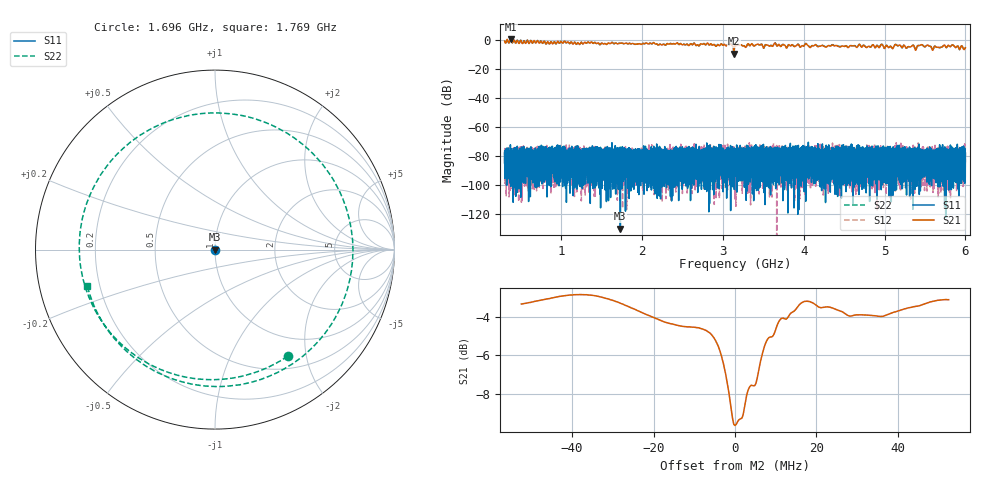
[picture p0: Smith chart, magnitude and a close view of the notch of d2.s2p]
!Agilent Technologies,N5230C,SG49000117,A.08.50.07
!Agilent N5230C: A.08.50.07
!Date: Monday, March 18, 2024 18:53:27
!Correction: S11(Off)
!S21(Off)
!S12(Off)
!S22(Off)
!S2P File: Measurements: S11, S21, S12, S22:
# Hz S  RI  R 50
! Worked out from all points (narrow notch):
!   20001 points, 300 MHz to 6 GHz, reference 50 ohm
!   highest |S21| = 0.45 dB at 374.1 MHz (marker M1); lowest = -9.7 dB at 3.135 GHz (marker M2)
!   notch at M2: 6.2 dB deep, 8.77 MHz wide at half that depth
!   lowest |S11| = -130.3 dB at 1.732 GHz (marker M3), VSWR 1.00, Z = 50 + j7.28e-06 ohm
!   |S11| at or under -10 dB: start of sweep to end of sweep
!   |S22| runs from -9.7 to 0.5 dB; largest |S21 - S12| = 1.1
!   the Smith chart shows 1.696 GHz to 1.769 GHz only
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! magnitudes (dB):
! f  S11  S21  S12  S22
! 300 MHz  -78.1  -0.9  -85.2  -0.9
! 374.1 MHz  -89.3  0.5  -83.7  0.5
! 1.25 GHz  -80.8  -1.7  -82.5  -1.7
! 1.732 GHz  -130.3  -2.4  -96.2  -2.4
! 2.2 GHz  -84.3  -3.6  -87.1  -3.6
! 3.082 GHz  -96.8  -3.4  -83.4  -3.3
! 3.135 GHz  -82.4  -9.7  -92.3  -9.7
! 3.15 GHz  -75.6  -3.6  -82.8  -3.5
! 3.174 GHz  -77.5  -3.8  -77.1  -3.7
! 3.269 GHz  -79.8  -4.4  -87.6  -4.3
! 3.335 GHz  -87.7  -4.1  -91.2  -4.0
! 3.975 GHz  -80.6  -4.2  -76.6  -4.1
! 4.032 GHz  -84.9  -2.8  -80.5  -2.7
! 4.1 GHz  -87.1  -4.2  -82.0  -4.1
! 5.05 GHz  -87.1  -5.4  -77.9  -5.4
! 5.087 GHz  -90.8  -5.2  -81.9  -5.2
! 5.155 GHz  -84.0  -4.0  -79.5  -3.9
! 5.39 GHz  -89.5  -6.6  -82.7  -6.6
! 5.449 GHz  -84.9  -3.5  -79.8  -3.5
! 5.605 GHz  -86.9  -6.1  -87.1  -6.2
! 5.84 GHz  -76.9  -3.4  -78.4  -3.5
! 6 GHz  -78.0  -5.5  -84.5  -5.5
